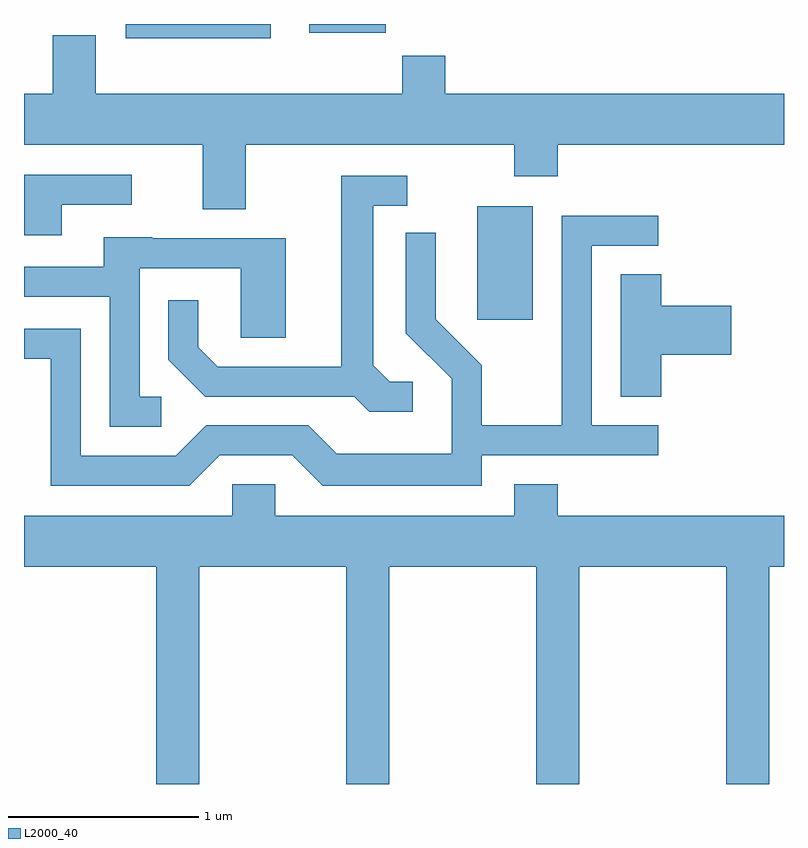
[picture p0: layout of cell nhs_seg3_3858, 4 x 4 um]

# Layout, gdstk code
import gdstk
lib = gdstk.Library(unit=1e-6, precision=1e-09)
def R(c, l, rs):  # rectangles x0, y0, x1, y1
    for r in rs: c.add(gdstk.rectangle(r[:2], r[2:], *l))
def P(c, l, *ps):  # polygons
    for p in ps: c.add(gdstk.Polygon(p, *l))
L2000_40 = (2000, 40)

nhs_seg3_3858 = lib.new_cell('nhs_seg3_3858')
R(nhs_seg3_3858, L2000_40, [(299.996,1218.336,300.289,1218.934), (298.146,1219.816,298.909,1219.892), (299.111,1219.846,299.514,1219.892)])
P(nhs_seg3_3858, L2000_40, [(298.779,1219.256),(300.191,1219.256),(300.191,1219.091),(300.419,1219.091),(300.419,1219.256),(301.611,1219.256),(301.611,1219.524),(299.829,1219.524),(299.829,1219.724),(299.601,1219.724),(299.601,1219.524),(297.989,1219.524),(297.989,1219.834),(297.761,1219.834),(297.761,1219.524),(297.611,1219.524),(297.611,1219.256),(298.551,1219.256),(298.551,1218.916),(298.779,1218.916)],
  [(297.809,1218.941),(298.178,1218.941),(298.178,1219.099),(297.611,1219.099),(297.611,1218.781),(297.809,1218.781)],
  [(299.658,1218.009),(299.537,1218.009),(299.449,1218.097),(299.449,1218.936),(299.628,1218.936),(299.628,1219.094),(299.281,1219.094),(299.281,1218.089),(298.632,1218.089),(298.529,1218.192),(298.529,1218.438),(298.371,1218.438),(298.371,1218.124),(298.564,1217.931),(299.349,1217.931),(299.429,1217.851),(299.658,1217.851)],
  [(298.642,1217.621),(299.024,1217.621),(299.184,1217.461),(300.019,1217.461),(300.019,1217.621),(300.948,1217.621),(300.948,1217.779),(300.599,1217.779),(300.599,1218.726),(300.948,1218.726),(300.948,1218.884),(300.441,1218.884),(300.441,1217.779),(300.019,1217.779),(300.019,1218.097),(299.779,1218.337),(299.779,1218.793),(299.621,1218.793),(299.621,1218.264),(299.861,1218.024),(299.861,1217.629),(299.257,1217.629),(299.107,1217.779),(298.569,1217.779),(298.409,1217.619),(297.909,1217.619),(297.909,1218.289),(297.611,1218.289),(297.611,1218.131),(297.751,1218.131),(297.751,1217.461),(298.482,1217.461)],
  [(298.333,1217.929),(298.219,1217.929),(298.219,1218.606),(298.751,1218.606),(298.751,1218.241),(298.989,1218.241),(298.989,1218.764),(298.285,1218.764),(298.285,1218.769),(298.031,1218.769),(298.031,1218.614),(297.611,1218.614),(297.611,1218.456),(298.061,1218.456),(298.061,1217.771),(298.333,1217.771)],
  [(300.964,1218.151),(301.334,1218.151),(301.334,1218.409),(300.964,1218.409),(300.964,1218.574),(300.751,1218.574),(300.751,1217.931),(300.964,1217.931)],
  [(298.534,1217.036),(299.306,1217.036),(299.306,1215.892),(299.534,1215.892),(299.534,1217.036),(300.306,1217.036),(300.306,1215.892),(300.534,1215.892),(300.534,1217.036),(301.306,1217.036),(301.306,1215.892),(301.534,1215.892),(301.534,1217.036),(301.611,1217.036),(301.611,1217.304),(300.419,1217.304),(300.419,1217.469),(300.191,1217.469),(300.191,1217.304),(298.934,1217.304),(298.934,1217.469),(298.706,1217.469),(298.706,1217.304),(297.611,1217.304),(297.611,1217.036),(298.306,1217.036),(298.306,1215.892),(298.534,1215.892)])

lib.write_gds('nhs_seg3_3858.gds')
